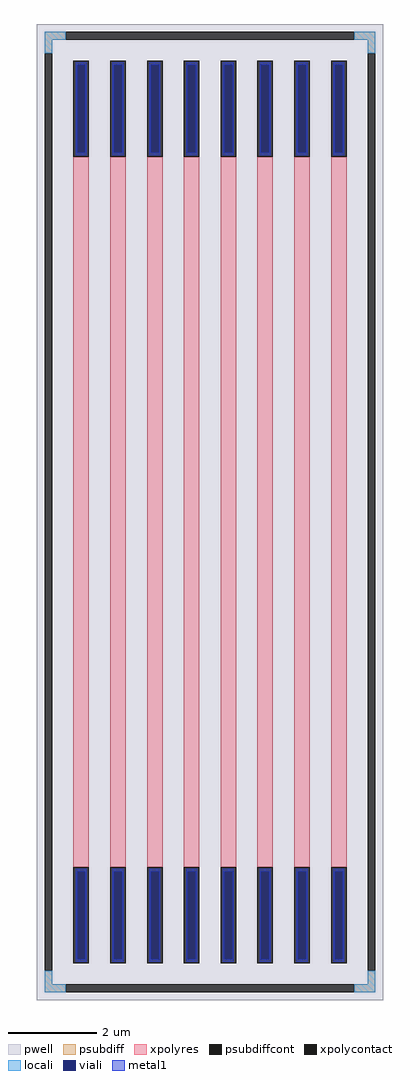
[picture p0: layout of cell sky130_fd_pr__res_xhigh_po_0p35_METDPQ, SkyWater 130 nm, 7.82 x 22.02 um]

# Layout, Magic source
magic
tech sky130A
magscale 1 2
<< pwell >>
rect -782 -2202 782 2202
<< psubdiff >>
rect -746 2132 -650 2166
rect 650 2132 746 2166
rect -746 2070 -712 2132
rect 712 2070 746 2132
rect -746 -2132 -712 -2070
rect 712 -2132 746 -2070
rect -746 -2166 -650 -2132
rect 650 -2166 746 -2132
<< psubdiffcont >>
rect -650 2132 650 2166
rect -746 -2070 -712 2070
rect 712 -2070 746 2070
rect -650 -2166 650 -2132
<< xpolycontact >>
rect -616 1604 -546 2036
rect -616 -2036 -546 -1604
rect -450 1604 -380 2036
rect -450 -2036 -380 -1604
rect -284 1604 -214 2036
rect -284 -2036 -214 -1604
rect -118 1604 -48 2036
rect -118 -2036 -48 -1604
rect 48 1604 118 2036
rect 48 -2036 118 -1604
rect 214 1604 284 2036
rect 214 -2036 284 -1604
rect 380 1604 450 2036
rect 380 -2036 450 -1604
rect 546 1604 616 2036
rect 546 -2036 616 -1604
<< xpolyres >>
rect -616 -1604 -546 1604
rect -450 -1604 -380 1604
rect -284 -1604 -214 1604
rect -118 -1604 -48 1604
rect 48 -1604 118 1604
rect 214 -1604 284 1604
rect 380 -1604 450 1604
rect 546 -1604 616 1604
<< locali >>
rect -746 2132 -650 2166
rect 650 2132 746 2166
rect -746 2070 -712 2132
rect 712 2070 746 2132
rect -746 -2132 -712 -2070
rect 712 -2132 746 -2070
rect -746 -2166 -650 -2132
rect 650 -2166 746 -2132
<< viali >>
rect -600 1621 -562 2018
rect -434 1621 -396 2018
rect -268 1621 -230 2018
rect -102 1621 -64 2018
rect 64 1621 102 2018
rect 230 1621 268 2018
rect 396 1621 434 2018
rect 562 1621 600 2018
rect -600 -2018 -562 -1621
rect -434 -2018 -396 -1621
rect -268 -2018 -230 -1621
rect -102 -2018 -64 -1621
rect 64 -2018 102 -1621
rect 230 -2018 268 -1621
rect 396 -2018 434 -1621
rect 562 -2018 600 -1621
<< metal1 >>
rect -606 2018 -556 2030
rect -606 1621 -600 2018
rect -562 1621 -556 2018
rect -606 1609 -556 1621
rect -440 2018 -390 2030
rect -440 1621 -434 2018
rect -396 1621 -390 2018
rect -440 1609 -390 1621
rect -274 2018 -224 2030
rect -274 1621 -268 2018
rect -230 1621 -224 2018
rect -274 1609 -224 1621
rect -108 2018 -58 2030
rect -108 1621 -102 2018
rect -64 1621 -58 2018
rect -108 1609 -58 1621
rect 58 2018 108 2030
rect 58 1621 64 2018
rect 102 1621 108 2018
rect 58 1609 108 1621
rect 224 2018 274 2030
rect 224 1621 230 2018
rect 268 1621 274 2018
rect 224 1609 274 1621
rect 390 2018 440 2030
rect 390 1621 396 2018
rect 434 1621 440 2018
rect 390 1609 440 1621
rect 556 2018 606 2030
rect 556 1621 562 2018
rect 600 1621 606 2018
rect 556 1609 606 1621
rect -606 -1621 -556 -1609
rect -606 -2018 -600 -1621
rect -562 -2018 -556 -1621
rect -606 -2030 -556 -2018
rect -440 -1621 -390 -1609
rect -440 -2018 -434 -1621
rect -396 -2018 -390 -1621
rect -440 -2030 -390 -2018
rect -274 -1621 -224 -1609
rect -274 -2018 -268 -1621
rect -230 -2018 -224 -1621
rect -274 -2030 -224 -2018
rect -108 -1621 -58 -1609
rect -108 -2018 -102 -1621
rect -64 -2018 -58 -1621
rect -108 -2030 -58 -2018
rect 58 -1621 108 -1609
rect 58 -2018 64 -1621
rect 102 -2018 108 -1621
rect 58 -2030 108 -2018
rect 224 -1621 274 -1609
rect 224 -2018 230 -1621
rect 268 -2018 274 -1621
rect 224 -2030 274 -2018
rect 390 -1621 440 -1609
rect 390 -2018 396 -1621
rect 434 -2018 440 -1621
rect 390 -2030 440 -2018
rect 556 -1621 606 -1609
rect 556 -2018 562 -1621
rect 600 -2018 606 -1621
rect 556 -2030 606 -2018
<< properties >>
string FIXED_BBOX -729 -2149 729 2149
string gencell sky130_fd_pr__res_xhigh_po_0p35
string library sky130
string parameters w 0.35 l 16.2 m 1 nx 8 wmin 0.350 lmin 0.50 rho 2000 val 93.646k dummy 0 dw 0.0 term 188.2 sterm 0.0 caplen 0 wmax 0.350 guard 1 glc 1 grc 1 gtc 1 gbc 1 compatible {sky130_fd_pr__res_xhigh_po_0p35  sky130_fd_pr__res_xhigh_po_0p69 sky130_fd_pr__res_xhigh_po_1p41  sky130_fd_pr__res_xhigh_po_2p85 sky130_fd_pr__res_xhigh_po_5p73} snake 0 full_metal 1 n_guard 0 hv_guard 0 vias 1 viagb 0 viagt 0 viagl 0 viagr 0
<< end >>
